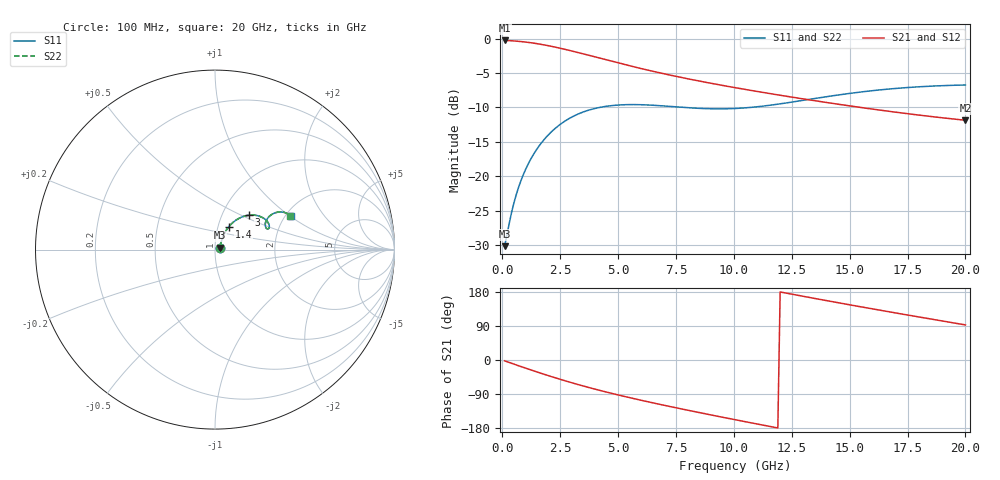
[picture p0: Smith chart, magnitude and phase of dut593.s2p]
! Touchstone file exported from HFSS 2024.1.0
!  File:  C:/UserFiles/LocalFiles/RDL_TSV_Batchsim/temp_RDL_TSV_593_1779760021.aedt
!  Generated:  10:04:01 AM May 26, 2026
!  Design:  RDL_TSV
!  Project:  temp_RDL_TSV_593_1779760021
!  Setup:  Setup1
!  Solution:  Sweep
! Variables:
!  dtsv = 6um
!  hbump = 3um
!  htsv = 91.28um
!  ldown = 371.82um
!  lrdl = 676.5um
!  p = 40
!  p1 = 50.07um
!  rhole = 10um
!  subl = 3821.46um
!  t = 450um
!  tdown = 2.52um
!  trdl = 3.87um
!  viad = 10um
!  wdown = 25.54um
!  wrdl = 11.42um
!  xbump = 18um
# GHz S MA R 50.000000
! Terminal data exported
! Port[1] = TM1_1_T1
! Port[2] = TM1_4_T1
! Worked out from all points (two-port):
!   200 points, 100 MHz to 20 GHz, reference 50 ohm
!   highest |S21| = -0.26 dB at 100 MHz (marker M1); lowest = -11.9 dB at 20 GHz (marker M2)
!   |S21| within 3 dB of the highest: start of sweep to 4.701 GHz
!   lowest |S11| = -30.2 dB at 100 MHz (marker M3), VSWR 1.06, Z = 53 + j1.17 ohm
!   |S11| at or under -10 dB: start of sweep to 4.189 GHz; 7.881 GHz to 10.69 GHz (2.804 GHz wide, 30.2 % of centre)
!   |S22| runs from -30.2 to -6.7 dB; largest |S21 - S12| = 9.6e-15
!   S11 on the Smith chart (normalised r, x): 100 MHz: 1.06, +0.02; 1.4 GHz: 1.13, +0.29; 3 GHz: 1.34, +0.55; 20 GHz: 2.13, +1.01
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0.1  0.03106 20.8  0.971 -2.2  0.971 -2.2  0.03106 20.8
! Gamma 0 0 0 0
! Port Impedance 50 0 50 0
0.4  0.05452 50.5  0.9658 -8.7  0.9658 -8.7  0.05452 50.5
0.7  0.08285 58.1  0.9571 -15.1  0.9571 -15.1  0.08285 58.1
1  0.1116 59.9  0.9456 -21.4  0.9456 -21.4  0.1116 59.8
1.4  0.1491 58.9  0.926 -29.6  0.926 -29.6  0.1491 58.9
1.8  0.1844 56.3  0.902 -37.6  0.902 -37.6  0.1844 56.2
2.2  0.2166 52.9  0.8747 -45.4  0.8747 -45.4  0.2166 52.8
2.6  0.2451 49.1  0.8452 -52.8  0.8452 -52.8  0.245 49.1
3  0.2693 45.4  0.8144 -60.1  0.8144 -60.1  0.2693 45.3
3.5  0.2935 40.8  0.7757 -68.7  0.7757 -68.7  0.2934 40.7
4.2  0.3165 34.9  0.7229 -80.0  0.7229 -80.0  0.3164 34.9
5.1  0.3303 28.8  0.6608 -93.6  0.6608 -93.6  0.33 28.7
5.9  0.3316 24.8  0.6122 -105.0  0.6122 -105.0  0.3314 24.8
6.8  0.3261 22.2  0.5647 -117.0  0.5647 -117.0  0.3257 22.1
8.4  0.3123 21.9  0.4962 -137.4  0.4962 -137.4  0.3118 21.9
10.1  0.3113 25.8  0.4393 -158.1  0.4393 -158.1  0.3107 25.8
11.6  0.329 29.6  0.3981 -175.9  0.3981 -175.9  0.3284 29.6
13.4  0.3655 31.7  0.3563 163.5  0.3563 163.5  0.3649 31.8
15  0.4003 31.1  0.3248 145.6  0.3248 145.6  0.3997 31.2
16.7  0.4308 29.0  0.2967 127.2  0.2967 127.2  0.4302 29.1
18.3  0.4502 26.5  0.2746 110.3  0.2746 110.3  0.4495 26.6
20  0.4609 24.0  0.2554 92.6  0.2554 92.6  0.4603 24.1
